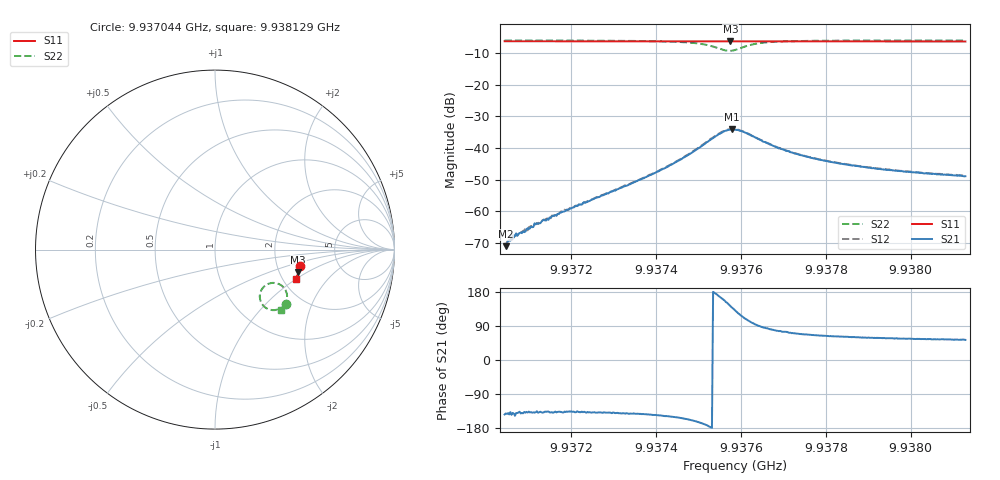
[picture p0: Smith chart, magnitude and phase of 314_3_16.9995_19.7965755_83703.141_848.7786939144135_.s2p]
#  HZ  S  RI  R  50.00
! Rohde & Schwarz Vector Network Analyzer
! Rohde-Schwarz,ZNB20-2Port,1311601062101988,3.16
! Created: UTC 3/20/2024, 11:06:09 PM
! freq[Hz]  re:S11  im:S11  re:S21  im:S21  re:S12  im:S12  re:S22  im:S22
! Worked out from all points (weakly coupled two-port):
!   401 points, 9.937044 GHz to 9.938129 GHz, reference 50 ohm
!   highest |S21| = -34.13 dB at 9.937578 GHz (marker M1); lowest = -71.0 dB at 9.937047 GHz (marker M2)
!   lowest |S11| = -6.4 dB at 9.937576 GHz (marker M3), VSWR 2.85, Z = 127 - j41.2 ohm
!   |S11| at or under -10 dB: nowhere
!   |S22| runs from -9.3 to -6.0 dB; largest |S21 - S12| = 0.00086
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9.9370443e9  0.4759 -0.0908  -0.000236 -0.000173  -0.000238 -0.000184  0.3965 -0.3023
9.937047e9  0.4759 -0.0911  -0.000219 -0.000176  -0.000243 -0.000157  0.3963 -0.3024
9.9370551e9  0.4758 -0.0916  -0.00028 -0.000206  -0.000272 -0.000225  0.3956 -0.3032
9.937066e9  0.4755 -0.0924  -0.000301 -0.00024  -0.000331 -0.000258  0.3949 -0.3036
9.9370877e9  0.4752 -0.0938  -0.000369 -0.000302  -0.000377 -0.00031  0.3933 -0.3053
9.9371202e9  0.4745 -0.0959  -0.000461 -0.000458  -0.000501 -0.000413  0.391 -0.3078
9.9372259e9  0.4725 -0.1033  -0.000921 -0.000881  -0.00102 -0.000879  0.3816 -0.3161
9.9373343e9  0.4704 -0.1104  -0.002 -0.00162  -0.00209 -0.0016  0.3671 -0.3259
9.9374075e9  0.4686 -0.1153  -0.00358 -0.0024  -0.00369 -0.00239  0.3499 -0.3338
9.937459e9  0.4673 -0.1189  -0.00586 -0.00298  -0.00605 -0.00294  0.3283 -0.3374
9.937516e9  0.4656 -0.1227  -0.0115 -0.00198  -0.0118 -0.00182  0.2816 -0.3235
9.9375512e9  0.464 -0.1244  -0.0163 0.00395  -0.0166 0.00445  0.25 -0.2698
9.9375756e9  0.4635 -0.125  -0.0155 0.0119  -0.0154 0.0125  0.2702 -0.2093
9.9375783e9  0.4635 -0.1251  -0.0149 0.0129  -0.0147 0.0132  0.2758 -0.2038
9.9375864e9  0.4636 -0.1255  -0.0127 0.0146  -0.0125 0.0154  0.2954 -0.1916
9.9376081e9  0.4637 -0.1265  -0.00635 0.0165  -0.00589 0.0169  0.3482 -0.1889
9.9376434e9  0.4636 -0.1288  2.32e-05 0.0137  0.000312 0.0137  0.3918 -0.2239
9.9376894e9  0.463 -0.1325  0.00233 0.00953  0.00258 0.00975  0.4019 -0.2603
9.9377681e9  0.4613 -0.1379  0.00281 0.00631  0.00297 0.00634  0.3966 -0.2909
9.9378385e9  0.4596 -0.1425  0.00266 0.00492  0.00278 0.00493  0.3901 -0.3054
9.9379497e9  0.457 -0.1499  0.0024 0.00377  0.00253 0.0038  0.3809 -0.3194
9.9381286e9  0.4522 -0.1615  0.00215 0.00286  0.00221 0.00286  0.3685 -0.3341
